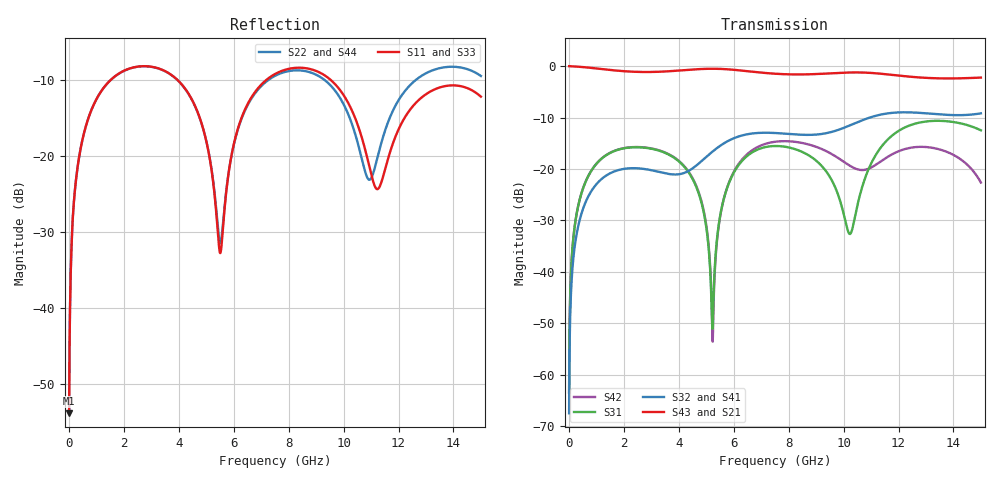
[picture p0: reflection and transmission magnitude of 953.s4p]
! Created with skrf 1.8.0 (http://scikit-rf.org).
# GHz S RI R 50.0
!freq ReS11 ImS11 ReS12 ImS12 ReS13 ImS13
! ReS14 ImS14
! ReS21 ImS21 ReS22 ImS22 ReS23 ImS23
! ReS24 ImS24
! ReS31 ImS31 ReS32 ImS32 ReS33 ImS33
! ReS34 ImS34
! ReS41 ImS41 ReS42 ImS42 ReS43 ImS43
! ReS44 ImS44
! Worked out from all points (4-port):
!   2499 points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, 5 MHz to 15 GHz, reference 50 ohm
!   strongest paths, dB at 5 MHz, 3.476 GHz, 7.19 GHz, 11.1 GHz, 15 GHz:
!     S43: 0.0, -1.1, -1.4, -1.4, -2.2
!     S21: 0.0, -1.1, -1.4, -1.4, -2.2
!     S32: -67.5, -20.8, -13.0, -9.8, -9.2
!     S41: -67.5, -20.9, -13.0, -9.8, -9.2
!     S31: -63.5, -16.8, -15.7, -18.0, -12.5
!     S42: -63.5, -16.8, -15.1, -19.4, -22.7
!   lowest |S11| = -53.8 dB at 5 MHz (marker M1), VSWR 1.00, Z = 50.2 + j0.124 ohm
!   |S11| at or under -10 dB: start of sweep to 1.511 GHz; 3.959 GHz to 7.178 GHz (3.22 GHz wide, 57.8 % of centre); 9.539 GHz to end of sweep
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0.005  0.00162 0.00123  0.9983 -0.00316  8.21e-05 0.000662  -7.97e-05 -0.000412
       0.9983 -0.00316  0.00162 0.00123  -7.97e-05 -0.000412  8.22e-05 0.000662
       8.21e-05 0.000662  -7.97e-05 -0.000412  0.00162 0.00123  0.9983 -0.00316
       -7.97e-05 -0.000412  8.22e-05 0.000662  0.9983 -0.00316  0.00162 0.00123
0.3626511  0.0298 0.0925  0.959 -0.2264  0.0144 0.0448  -0.012 -0.0273
           0.959 -0.2264  0.0297 0.0925  -0.012 -0.0273  0.0145 0.0447
           0.0144 0.0448  -0.012 -0.0273  0.0298 0.0925  0.959 -0.2265
           -0.012 -0.0273  0.0145 0.0447  0.959 -0.2265  0.0297 0.0925
1.619545  0.2799 0.173  0.5267 -0.7422  0.1348 0.0615  -0.0937 -0.00217
          0.5267 -0.7422  0.2794 0.1734  -0.0938 -0.00207  0.1361 0.0596
          0.1348 0.0615  -0.0938 -0.00207  0.28 0.1731  0.5266 -0.7422
          -0.0937 -0.00217  0.1361 0.0596  0.5266 -0.7422  0.2795 0.1734
5.233431  0.0327 -0.0636  -0.9143 -0.2288  -0.00279 0.00123  -0.0322 0.1443
          -0.9143 -0.2288  0.0363 -0.0628  -0.0307 0.1447  -0.00206 0.00037
          -0.00279 0.00123  -0.0307 0.1447  0.0346 -0.065  -0.9141 -0.2291
          -0.0322 0.1443  -0.00206 0.00037  -0.9141 -0.2291  0.0354 -0.0648
8.597332  0.3771 -0.0428  0.0155 0.83  0.1299 -0.0571  0.2045 -0.0629
          0.0155 0.83  0.361 -0.0356  0.204 -0.066  0.1266 -0.1228
          0.1299 -0.0571  0.204 -0.066  0.3754 -0.0459  0.0168 0.8304
          0.2045 -0.0629  0.1266 -0.1228  0.0168 0.8304  0.3604 -0.034
11.31722  0.0628 0.00704  0.845 0.00844  0.1107 0.1106  -0.00845 -0.3355
          0.845 0.00844  0.0876 0.0699  -0.0143 -0.3355  -0.0524 0.104
          0.1107 0.1106  -0.0143 -0.3355  0.061 0.00608  0.8449 0.00545
          -0.00845 -0.3355  -0.0524 0.104  0.8449 0.00545  0.0886 0.0707
15  0.236 -0.0702  -0.2708 -0.7243  0.0247 -0.2361  -0.3114 0.1522
    -0.2708 -0.7243  0.2896 -0.1721  -0.3075 0.1612  0.065 -0.0347
    0.0247 -0.2361  -0.3075 0.1612  0.2344 -0.0715  -0.2765 -0.722
    -0.3114 0.1522  0.065 -0.0347  -0.2765 -0.722  0.2902 -0.1726
